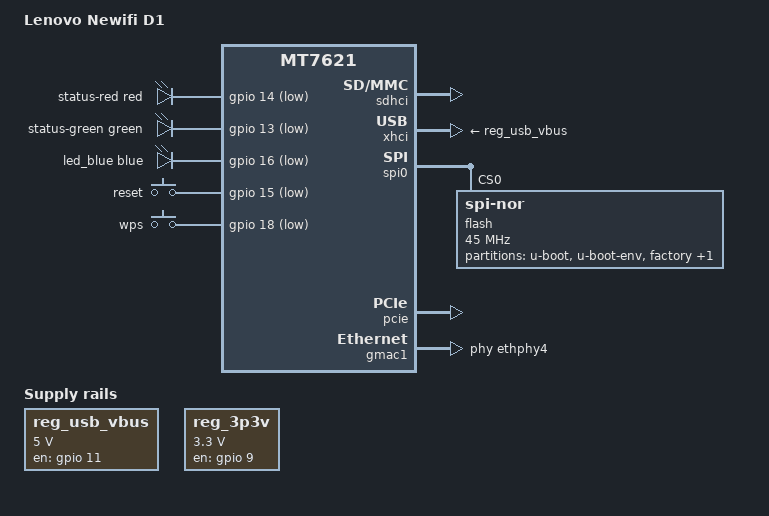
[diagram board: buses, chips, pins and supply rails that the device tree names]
#include "mt7621.dtsi"

#include <dt-bindings/gpio/gpio.h>
#include <dt-bindings/input/input.h>
#include <dt-bindings/leds/common.h>

/ {
	compatible = "lenovo,newifi-d1", "mediatek,mt7621-soc";
	model = "Lenovo Newifi D1";

	aliases {
		led-boot = &led_blue;
		led-failsafe = &led_blue;
		led-running = &led_blue;
		led-upgrade = &led_blue;
		label-mac-device = &gmac0;
	};

	chosen {
		bootargs = "console=ttyS0,115200";
	};

	leds {
		compatible = "gpio-leds";

		status-red {
			function = LED_FUNCTION_STATUS;
			color = <LED_COLOR_ID_RED>;
			gpios = <&gpio 14 GPIO_ACTIVE_LOW>;
		};

		status-green {
			function = LED_FUNCTION_STATUS;
			color = <LED_COLOR_ID_GREEN>;
			gpios = <&gpio 13 GPIO_ACTIVE_LOW>;
		};

		led_blue: status-blue {
			function = LED_FUNCTION_STATUS;
			color = <LED_COLOR_ID_BLUE>;
			gpios = <&gpio 16 GPIO_ACTIVE_LOW>;
			default-state = "on";
		};
	};

	keys {
		compatible = "gpio-keys";

		reset {
			label = "reset";
			gpios = <&gpio 15 GPIO_ACTIVE_LOW>;
			linux,code = <KEY_RESTART>;
		};

		wps {
			label = "wps";
			gpios = <&gpio 18 GPIO_ACTIVE_LOW>;
			linux,code = <KEY_WPS_BUTTON>;
		};
	};

	reg_usb_vbus: regulator-usb {
		compatible = "regulator-fixed";
		regulator-name = "usb_vbus";
		regulator-min-microvolt = <5000000>;
		regulator-max-microvolt = <5000000>;
		gpios = <&gpio 11 GPIO_ACTIVE_HIGH>;
		enable-active-high;
	};

	reg_3p3v: regulator-3p3v {
		compatible = "regulator-fixed";
		regulator-name = "fixed-3.3V";
		regulator-min-microvolt = <3300000>;
		regulator-max-microvolt = <3300000>;
		gpios = <&gpio 9 GPIO_ACTIVE_HIGH>;
		enable-active-high;
	};
};

&sdhci {
	status = "okay";
};

&xhci {
	vusb33-supply = <&reg_3p3v>;
	vbus-supply = <&reg_usb_vbus>;
};

&spi0 {
	status = "okay";

	flash@0 {
		compatible = "jedec,spi-nor";
		reg = <0>;
		spi-max-frequency = <45000000>;
		broken-flash-reset;

		partitions {
			compatible = "fixed-partitions";
			#address-cells = <1>;
			#size-cells = <1>;

			partition@0 {
				label = "u-boot";
				reg = <0x0 0x30000>;
				read-only;
			};

			partition@30000 {
				label = "u-boot-env";
				reg = <0x30000 0x10000>;
				read-only;
			};

			partition@40000 {
				label = "factory";
				reg = <0x40000 0x10000>;
				read-only;

				nvmem-layout {
					compatible = "fixed-layout";
					#address-cells = <1>;
					#size-cells = <1>;

					eeprom_factory_0: eeprom@0 {
						reg = <0x0 0x400>;
					};

					eeprom_factory_8000: eeprom@8000 {
						reg = <0x8000 0x200>;
					};

					macaddr_factory_e000: macaddr@e000 {
						reg = <0xe000 0x6>;
					};

					macaddr_factory_e006: macaddr@e006 {
						reg = <0xe006 0x6>;
					};
				};
			};

			partition@50000 {
				compatible = "denx,uimage";
				label = "firmware";
				reg = <0x50000 0x1fb0000>;
			};
		};
	};
};

&pcie {
	status = "okay";
};

&pcie0 {
	mt76@0,0 {
		reg = <0x0000 0 0 0 0>;
		nvmem-cells = <&eeprom_factory_8000>;
		nvmem-cell-names = "eeprom";
		ieee80211-freq-limit = <5000000 6000000>;
	};
};

&pcie1 {
	mt76@0,0 {
		reg = <0x0000 0 0 0 0>;
		nvmem-cells = <&eeprom_factory_0>;
		nvmem-cell-names = "eeprom";
	};
};

&gmac0 {
	nvmem-cells = <&macaddr_factory_e000>;
	nvmem-cell-names = "mac-address";
};

&gmac1 {
	status = "okay";
	label = "wan";
	phy-handle = <&ethphy4>;

	nvmem-cells = <&macaddr_factory_e006>;
	nvmem-cell-names = "mac-address";
};

&ethphy4 {
	/delete-property/ interrupts;
};

&switch0 {
	ports {
		port@1 {
			status = "okay";
			label = "lan2";
		};

		port@2 {
			status = "okay";
			label = "lan1";
		};
	};
};

&state_default {
	gpio {
		groups = "jtag", "uart2", "wdt";
		function = "gpio";
	};
};
